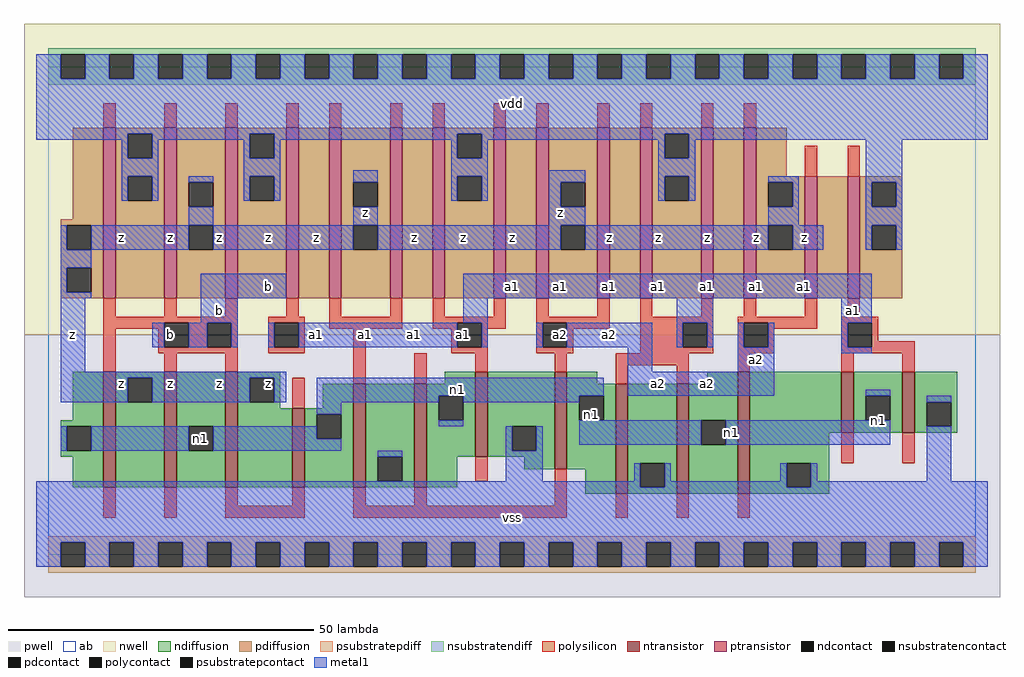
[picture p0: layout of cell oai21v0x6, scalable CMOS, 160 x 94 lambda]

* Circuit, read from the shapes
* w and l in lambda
.subckt oai21v0x6 a1 a2 b n1 vdd vss z
M1 z b n1 vss nfet w=19 l=2 m=3
M2 n1 b z vss nfet w=13 l=2
M3 vss a2 n1 vss nfet w=17 l=2 m=2
M4 vss a1 n1 vss nfet w=14 l=2
M5 n1 a2 vss vss nfet w=16 l=2
M6 vss a1 n1 vss nfet w=18 l=2 m=2
M7 vss a2 n1 vss nfet w=20 l=2
M8 n1 a1 vss vss nfet w=10 l=2 m=2
M9 vdd b z vdd pfet w=28 l=2 m=3
M10 n2 a1 vdd vdd pfet w=28 l=2
M11 z a2 n2 vdd pfet w=28 l=2
M12 n3 a2 z vdd pfet w=28 l=2
M13 vdd a1 n3 vdd pfet w=28 l=2
M14 n4 a1 vdd vdd pfet w=28 l=2
M15 z a2 n4 vdd pfet w=28 l=2
M16 n5 a2 z vdd pfet w=28 l=2
M17 vdd a1 n5 vdd pfet w=28 l=2
M18 n6 a1 vdd vdd pfet w=28 l=2
M19 z a2 n6 vdd pfet w=28 l=2
M20 n7 a2 z vdd pfet w=20 l=2
M21 vdd a1 n7 vdd pfet w=20 l=2
.ends

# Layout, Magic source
magic
tech scmos
<< ab >>
rect 0 0 152 80
<< pwell >>
rect -4 -7 156 36
<< nwell >>
rect -4 36 156 87
<< polysilicon >>
rect 9 70 11 74
rect 19 70 21 74
rect 29 70 31 74
rect 39 70 41 74
rect 46 70 48 74
rect 56 70 58 74
rect 63 70 65 74
rect 73 70 75 74
rect 80 70 82 74
rect 90 70 92 74
rect 97 70 99 74
rect 107 70 109 74
rect 114 70 116 74
rect 124 62 126 67
rect 131 62 133 67
rect 9 39 11 42
rect 19 39 21 42
rect 29 39 31 42
rect 39 39 41 42
rect 46 39 48 42
rect 56 39 58 42
rect 9 38 31 39
rect 9 37 19 38
rect 9 30 11 37
rect 18 34 19 37
rect 23 34 26 38
rect 30 34 31 38
rect 18 33 31 34
rect 36 38 42 39
rect 36 34 37 38
rect 41 34 42 38
rect 46 37 58 39
rect 63 39 65 42
rect 73 39 75 42
rect 63 38 75 39
rect 63 37 67 38
rect 36 33 42 34
rect 19 30 21 33
rect 29 30 31 33
rect 40 24 42 29
rect 50 28 52 37
rect 66 34 67 37
rect 71 37 75 38
rect 80 39 82 42
rect 90 39 92 42
rect 80 38 92 39
rect 71 34 72 37
rect 66 33 72 34
rect 80 34 81 38
rect 85 37 92 38
rect 97 39 99 42
rect 107 39 109 42
rect 114 39 116 42
rect 124 39 126 42
rect 131 39 133 42
rect 97 38 109 39
rect 85 34 86 37
rect 80 33 86 34
rect 97 34 104 38
rect 108 34 109 38
rect 97 33 109 34
rect 113 38 126 39
rect 113 34 114 38
rect 118 37 126 38
rect 130 38 136 39
rect 118 34 119 37
rect 113 33 119 34
rect 130 34 131 38
rect 135 35 136 38
rect 135 34 142 35
rect 130 33 142 34
rect 60 28 62 33
rect 70 30 72 33
rect 83 30 85 33
rect 93 31 105 33
rect 70 12 72 16
rect 93 28 95 31
rect 103 28 105 31
rect 113 30 115 33
rect 130 30 132 33
rect 140 30 142 33
rect 9 6 11 11
rect 19 6 21 11
rect 29 8 31 11
rect 40 8 42 11
rect 29 6 42 8
rect 50 8 52 11
rect 60 8 62 11
rect 83 8 85 14
rect 130 15 132 20
rect 140 15 142 20
rect 50 6 85 8
rect 93 6 95 10
rect 103 6 105 10
rect 113 6 115 10
<< ndiffusion >>
rect 4 22 9 30
rect 2 21 9 22
rect 2 17 3 21
rect 7 17 9 21
rect 2 16 9 17
rect 4 11 9 16
rect 11 29 19 30
rect 11 25 13 29
rect 17 25 19 29
rect 11 11 19 25
rect 21 21 29 30
rect 21 17 23 21
rect 27 17 29 21
rect 21 11 29 17
rect 31 29 38 30
rect 31 25 33 29
rect 37 25 38 29
rect 31 24 38 25
rect 65 28 70 30
rect 45 24 50 28
rect 31 11 40 24
rect 42 23 50 24
rect 42 19 44 23
rect 48 19 50 23
rect 42 11 50 19
rect 52 16 60 28
rect 52 12 54 16
rect 58 12 60 16
rect 52 11 60 12
rect 62 26 70 28
rect 62 22 64 26
rect 68 22 70 26
rect 62 16 70 22
rect 72 21 83 30
rect 72 17 76 21
rect 80 17 83 21
rect 72 16 83 17
rect 62 11 67 16
rect 78 14 83 16
rect 85 28 90 30
rect 108 28 113 30
rect 85 26 93 28
rect 85 22 87 26
rect 91 22 93 26
rect 85 14 93 22
rect 88 10 93 14
rect 95 15 103 28
rect 95 11 97 15
rect 101 11 103 15
rect 95 10 103 11
rect 105 22 113 28
rect 105 18 107 22
rect 111 18 113 22
rect 105 10 113 18
rect 115 20 130 30
rect 132 26 140 30
rect 132 22 134 26
rect 138 22 140 26
rect 132 20 140 22
rect 142 25 149 30
rect 142 21 144 25
rect 148 21 149 25
rect 142 20 149 21
rect 115 15 128 20
rect 115 11 121 15
rect 125 11 128 15
rect 115 10 128 11
<< pdiffusion >>
rect 4 55 9 70
rect 2 54 9 55
rect 2 50 3 54
rect 7 50 9 54
rect 2 47 9 50
rect 2 43 3 47
rect 7 43 9 47
rect 2 42 9 43
rect 11 69 19 70
rect 11 65 13 69
rect 17 65 19 69
rect 11 62 19 65
rect 11 58 13 62
rect 17 58 19 62
rect 11 42 19 58
rect 21 61 29 70
rect 21 57 23 61
rect 27 57 29 61
rect 21 54 29 57
rect 21 50 23 54
rect 27 50 29 54
rect 21 42 29 50
rect 31 69 39 70
rect 31 65 33 69
rect 37 65 39 69
rect 31 62 39 65
rect 31 58 33 62
rect 37 58 39 62
rect 31 42 39 58
rect 41 42 46 70
rect 48 61 56 70
rect 48 57 50 61
rect 54 57 56 61
rect 48 54 56 57
rect 48 50 50 54
rect 54 50 56 54
rect 48 42 56 50
rect 58 42 63 70
rect 65 69 73 70
rect 65 65 67 69
rect 71 65 73 69
rect 65 62 73 65
rect 65 58 67 62
rect 71 58 73 62
rect 65 42 73 58
rect 75 42 80 70
rect 82 61 90 70
rect 82 57 84 61
rect 88 57 90 61
rect 82 54 90 57
rect 82 50 84 54
rect 88 50 90 54
rect 82 42 90 50
rect 92 42 97 70
rect 99 69 107 70
rect 99 65 101 69
rect 105 65 107 69
rect 99 62 107 65
rect 99 58 101 62
rect 105 58 107 62
rect 99 42 107 58
rect 109 42 114 70
rect 116 62 121 70
rect 116 61 124 62
rect 116 57 118 61
rect 122 57 124 61
rect 116 54 124 57
rect 116 50 118 54
rect 122 50 124 54
rect 116 42 124 50
rect 126 42 131 62
rect 133 61 140 62
rect 133 57 135 61
rect 139 57 140 61
rect 133 54 140 57
rect 133 50 135 54
rect 139 50 140 54
rect 133 42 140 50
<< metal1 >>
rect -2 78 2 82
rect 6 78 10 82
rect 14 78 18 82
rect 22 78 26 82
rect 30 78 34 82
rect 38 78 42 82
rect 46 78 50 82
rect 54 78 58 82
rect 62 78 66 82
rect 70 78 74 82
rect 78 78 82 82
rect 86 78 90 82
rect 94 78 98 82
rect 102 78 106 82
rect 110 78 114 82
rect 118 78 122 82
rect 126 78 130 82
rect 134 78 138 82
rect 142 78 146 82
rect 150 78 154 82
rect -2 69 154 78
rect -2 68 13 69
rect 12 65 13 68
rect 17 68 33 69
rect 17 65 18 68
rect 12 62 18 65
rect 32 65 33 68
rect 37 68 67 69
rect 37 65 38 68
rect 32 62 38 65
rect 66 65 67 68
rect 71 68 101 69
rect 71 65 72 68
rect 12 58 13 62
rect 17 58 18 62
rect 23 61 27 62
rect 32 58 33 62
rect 37 58 38 62
rect 50 61 54 63
rect 23 54 27 57
rect 66 62 72 65
rect 100 65 101 68
rect 105 68 154 69
rect 105 65 106 68
rect 66 58 67 62
rect 71 58 72 62
rect 82 61 88 63
rect 50 54 54 57
rect 82 57 84 61
rect 100 62 106 65
rect 100 58 101 62
rect 105 58 106 62
rect 118 61 123 62
rect 82 54 88 57
rect 122 57 123 61
rect 118 54 123 57
rect 134 61 140 68
rect 134 57 135 61
rect 139 57 140 61
rect 134 54 140 57
rect 2 50 3 54
rect 7 50 23 54
rect 27 50 50 54
rect 54 50 84 54
rect 88 50 118 54
rect 122 50 127 54
rect 134 50 135 54
rect 139 50 140 54
rect 2 47 7 50
rect 2 43 3 47
rect 2 42 7 43
rect 25 42 39 46
rect 68 42 135 46
rect 2 30 6 42
rect 25 38 31 42
rect 68 38 72 42
rect 103 38 109 42
rect 130 38 135 42
rect 17 34 19 38
rect 23 34 26 38
rect 30 34 31 38
rect 36 34 37 38
rect 41 34 67 38
rect 71 34 72 38
rect 80 34 81 38
rect 85 34 99 38
rect 103 34 104 38
rect 108 34 109 38
rect 113 34 114 38
rect 118 34 119 38
rect 95 30 99 34
rect 113 30 119 34
rect 130 34 131 38
rect 130 33 135 34
rect 2 29 39 30
rect 2 25 13 29
rect 17 25 33 29
rect 37 25 39 29
rect 44 26 91 29
rect 95 26 119 30
rect 134 26 138 27
rect 44 25 64 26
rect 44 23 48 25
rect 2 17 3 21
rect 7 17 23 21
rect 27 19 44 21
rect 68 25 87 26
rect 64 21 68 22
rect 27 17 48 19
rect 75 17 76 21
rect 80 17 81 21
rect 87 18 107 22
rect 111 18 138 22
rect 144 25 148 26
rect 54 16 58 17
rect 75 12 81 17
rect 96 12 97 15
rect -2 11 97 12
rect 101 12 102 15
rect 120 12 121 15
rect 101 11 121 12
rect 125 12 126 15
rect 144 12 148 21
rect 125 11 154 12
rect -2 2 154 11
rect -2 -2 2 2
rect 6 -2 10 2
rect 14 -2 18 2
rect 22 -2 26 2
rect 30 -2 34 2
rect 38 -2 42 2
rect 46 -2 50 2
rect 54 -2 58 2
rect 62 -2 66 2
rect 70 -2 74 2
rect 78 -2 82 2
rect 86 -2 90 2
rect 94 -2 98 2
rect 102 -2 106 2
rect 110 -2 114 2
rect 118 -2 122 2
rect 126 -2 130 2
rect 134 -2 138 2
rect 142 -2 146 2
rect 150 -2 154 2
<< ntransistor >>
rect 9 11 11 30
rect 19 11 21 30
rect 29 11 31 30
rect 40 11 42 24
rect 50 11 52 28
rect 60 11 62 28
rect 70 16 72 30
rect 83 14 85 30
rect 93 10 95 28
rect 103 10 105 28
rect 113 10 115 30
rect 130 20 132 30
rect 140 20 142 30
<< ptransistor >>
rect 9 42 11 70
rect 19 42 21 70
rect 29 42 31 70
rect 39 42 41 70
rect 46 42 48 70
rect 56 42 58 70
rect 63 42 65 70
rect 73 42 75 70
rect 80 42 82 70
rect 90 42 92 70
rect 97 42 99 70
rect 107 42 109 70
rect 114 42 116 70
rect 124 42 126 62
rect 131 42 133 62
<< polycontact >>
rect 19 34 23 38
rect 26 34 30 38
rect 37 34 41 38
rect 67 34 71 38
rect 81 34 85 38
rect 104 34 108 38
rect 114 34 118 38
rect 131 34 135 38
<< ndcontact >>
rect 3 17 7 21
rect 13 25 17 29
rect 23 17 27 21
rect 33 25 37 29
rect 44 19 48 23
rect 54 12 58 16
rect 64 22 68 26
rect 76 17 80 21
rect 87 22 91 26
rect 97 11 101 15
rect 107 18 111 22
rect 134 22 138 26
rect 144 21 148 25
rect 121 11 125 15
<< pdcontact >>
rect 3 50 7 54
rect 3 43 7 47
rect 13 65 17 69
rect 13 58 17 62
rect 23 57 27 61
rect 23 50 27 54
rect 33 65 37 69
rect 33 58 37 62
rect 50 57 54 61
rect 50 50 54 54
rect 67 65 71 69
rect 67 58 71 62
rect 84 57 88 61
rect 84 50 88 54
rect 101 65 105 69
rect 101 58 105 62
rect 118 57 122 61
rect 118 50 122 54
rect 135 57 139 61
rect 135 50 139 54
<< psubstratepcontact >>
rect 2 -2 6 2
rect 10 -2 14 2
rect 18 -2 22 2
rect 26 -2 30 2
rect 34 -2 38 2
rect 42 -2 46 2
rect 50 -2 54 2
rect 58 -2 62 2
rect 66 -2 70 2
rect 74 -2 78 2
rect 82 -2 86 2
rect 90 -2 94 2
rect 98 -2 102 2
rect 106 -2 110 2
rect 114 -2 118 2
rect 122 -2 126 2
rect 130 -2 134 2
rect 138 -2 142 2
rect 146 -2 150 2
<< nsubstratencontact >>
rect 2 78 6 82
rect 10 78 14 82
rect 18 78 22 82
rect 26 78 30 82
rect 34 78 38 82
rect 42 78 46 82
rect 50 78 54 82
rect 58 78 62 82
rect 66 78 70 82
rect 74 78 78 82
rect 82 78 86 82
rect 90 78 94 82
rect 98 78 102 82
rect 106 78 110 82
rect 114 78 118 82
rect 122 78 126 82
rect 130 78 134 82
rect 138 78 142 82
rect 146 78 150 82
<< psubstratepdiff >>
rect 0 2 152 3
rect 0 -2 2 2
rect 6 -2 10 2
rect 14 -2 18 2
rect 22 -2 26 2
rect 30 -2 34 2
rect 38 -2 42 2
rect 46 -2 50 2
rect 54 -2 58 2
rect 62 -2 66 2
rect 70 -2 74 2
rect 78 -2 82 2
rect 86 -2 90 2
rect 94 -2 98 2
rect 102 -2 106 2
rect 110 -2 114 2
rect 118 -2 122 2
rect 126 -2 130 2
rect 134 -2 138 2
rect 142 -2 146 2
rect 150 -2 152 2
rect 0 -3 152 -2
<< nsubstratendiff >>
rect 0 82 152 83
rect 0 78 2 82
rect 6 78 10 82
rect 14 78 18 82
rect 22 78 26 82
rect 30 78 34 82
rect 38 78 42 82
rect 46 78 50 82
rect 54 78 58 82
rect 62 78 66 82
rect 70 78 74 82
rect 78 78 82 82
rect 86 78 90 82
rect 94 78 98 82
rect 102 78 106 82
rect 110 78 114 82
rect 118 78 122 82
rect 126 78 130 82
rect 134 78 138 82
rect 142 78 146 82
rect 150 78 152 82
rect 0 77 152 78
<< labels >>
rlabel metal1 12 28 12 28 6 z
rlabel metal1 20 28 20 28 6 z
rlabel polycontact 20 36 20 36 6 b
rlabel metal1 4 36 4 36 6 z
rlabel metal1 12 52 12 52 6 z
rlabel metal1 20 52 20 52 6 z
rlabel ndcontact 25 19 25 19 6 n1
rlabel metal1 28 28 28 28 6 z
rlabel ndcontact 36 28 36 28 6 z
rlabel metal1 44 36 44 36 6 a1
rlabel metal1 28 40 28 40 6 b
rlabel metal1 36 44 36 44 6 b
rlabel metal1 28 52 28 52 6 z
rlabel metal1 36 52 36 52 6 z
rlabel metal1 44 52 44 52 6 z
rlabel metal1 52 36 52 36 6 a1
rlabel polycontact 68 36 68 36 6 a1
rlabel metal1 60 36 60 36 6 a1
rlabel metal1 60 52 60 52 6 z
rlabel metal1 68 52 68 52 6 z
rlabel metal1 52 56 52 56 6 z
rlabel metal1 76 6 76 6 6 vss
rlabel metal1 100 28 100 28 6 a2
rlabel ndcontact 89 23 89 23 6 n1
rlabel metal1 67 27 67 27 6 n1
rlabel metal1 92 36 92 36 6 a2
rlabel polycontact 84 36 84 36 6 a2
rlabel metal1 84 44 84 44 6 a1
rlabel metal1 92 44 92 44 6 a1
rlabel metal1 100 44 100 44 6 a1
rlabel metal1 76 44 76 44 6 a1
rlabel metal1 76 52 76 52 6 z
rlabel metal1 92 52 92 52 6 z
rlabel metal1 100 52 100 52 6 z
rlabel metal1 84 56 84 56 6 z
rlabel metal1 76 74 76 74 6 vdd
rlabel metal1 108 28 108 28 6 a2
rlabel metal1 116 32 116 32 6 a2
rlabel metal1 108 44 108 44 6 a1
rlabel metal1 116 44 116 44 6 a1
rlabel metal1 124 44 124 44 6 a1
rlabel metal1 124 52 124 52 6 z
rlabel metal1 108 52 108 52 6 z
rlabel metal1 116 52 116 52 6 z
rlabel metal1 112 20 112 20 6 n1
rlabel metal1 136 22 136 22 6 n1
rlabel metal1 132 40 132 40 6 a1
<< end >>
